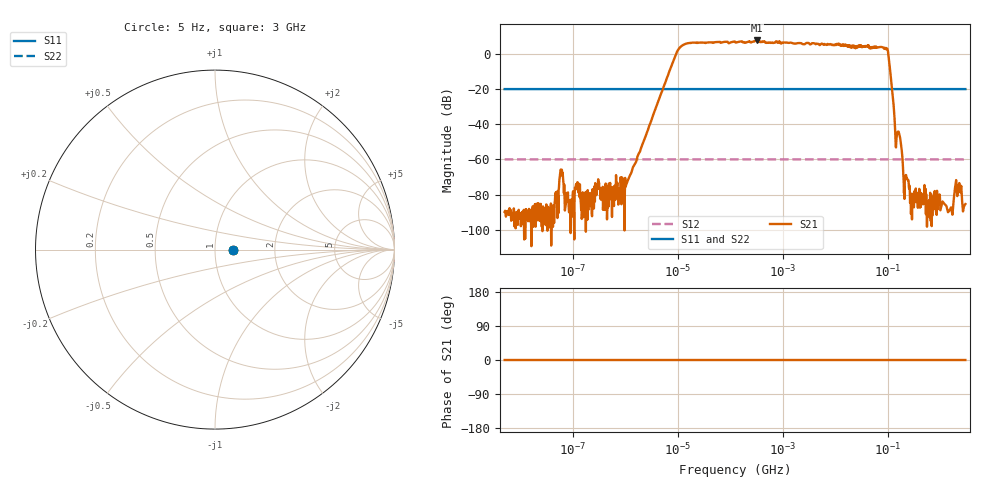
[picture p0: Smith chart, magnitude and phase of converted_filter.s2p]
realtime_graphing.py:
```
import pandas as pd
import numpy as np
import matplotlib.pyplot as plt
from scipy.fft import fft, fftfreq, ifft
import skrf as rf

def Power_Spectral_Density(signal, time, name):
    """Calculate PSD using FFT method"""

    X = fft(signal)
    N = len(signal)
    fs = 1/(time[1] - time[0])
    freqs = fftfreq(N, d=1/fs)
    mask = freqs >= 0
    freqs_pos = freqs[mask]
    psd_fft = (np.abs(X[mask])**2) / (fs * N)

    plt.figure(figsize=(10, 4))
    plt.semilogy(freqs_pos, psd_fft)
    plt.xlabel('Frequency (Hz)')
    plt.ylabel('PSD (V²/Hz)')
    plt.title(f'Power Spectral Density of {name}')
    plt.grid(True)
    plt.show()
    
    return freqs_pos, psd_fft

def Load_Transfer_Function(filename):
    """Load S2P file and return frequency and S21"""
    network = rf.Network(filename)
    s21 = network.s[:,1,0]
    frequency = network.f
  # Plot results
    plt.figure()
    
    # Plot Wiener filter
    plt.plot(frequency/1e6, 20*np.log10(np.abs(s21)))
    plt.xlabel('Frequency (MHz)')
    plt.ylabel('Magnitude (dB)')
    plt.title('Transfer Function H(f)')
    plt.grid(True)
    plt.show()

    return frequency, s21

def Wiener_Filter(transfer_function, transfer_frequencies, psd_signal, psd_signal_freq, psd_noise=None, psd_noise_freq=None):
    # INTERPOLATE
    
    #psd_signal = np.interp(transfer_frequencies, psd_signal_freq, psd_signal)
#def Wiener_Filter(transfer_function, transfer_frequencies, psd_signal, psd_signal_freq, psd_noise=None, psd_noise_freq=None):
    
    psd_signal_interp = np.interp(transfer_frequencies, psd_signal_freq, psd_signal)
    w_filter = []
    if psd_noise is None:
        w_filter = (np.conj(transfer_function) * psd_signal_interp) / (np.abs(transfer_function)**2 * psd_signal_interp)
        combined = w_filter * transfer_function
    
        
    # Rest of your code...
    if psd_noise is not None and psd_noise_freq is not None:
        psd_noise = np.interp(transfer_frequencies, psd_noise_freq, psd_noise)
        w_filter = (np.conj(transfer_function) * np.array(psd_signal_interp)) / (np.abs(transfer_function)**2 * psd_signal_interp + psd_noise)
    else:
        w_filter = (np.conj(transfer_function) * np.array(psd_signal_interp)) / (np.abs(transfer_function)**2 * psd_signal_interp)

    # wiener deconvolution formula
    
    # Plot results
    plt.figure(figsize=(15, 4))
    
    # Plot Wiener filter
    plt.subplot(1,2,1)
    plt.plot(transfer_frequencies/1e6, 20*np.log10(np.abs(w_filter)))
    plt.xlabel('Frequency (MHz)')
    plt.ylabel('Magnitude (dB)')
    plt.title('Wiener Filter W(f)')
    plt.grid(True)
    
    # Plot combined response W(f) * H(f)
    plt.subplot(1,2,2)
    combined = w_filter * transfer_function
    plt.plot(transfer_frequencies/1e6, 20*np.log10(np.abs(transfer_function)), 'b-', label='Original H(f)')
    plt.plot(transfer_frequencies/1e6, 20*np.log10(np.abs(combined)), 'r--', label='H(f) × W(f)')
    plt.xlabel('Frequency (MHz)')
    plt.ylabel('Magnitude (dB)')
    plt.title('Combined Response')
    plt.legend()
    plt.grid(True)

    
    plt.tight_layout()
    plt.show()

    # return the filter
    return w_filter

def Apply_Filter_to_Signal(signal, time, filter, filter_freqs, name):
    # --- frequency–domain filtering (robust version) ---------------------------
    X = fft(signal)
    N = len(signal)
    fs = 1 / (time[1] - time[0])           # sampling-rate
    freqs = fftfreq(N, d=1/fs)             # ±-Nyquist grid

    # 1)  absolute–value grid for interpolation
    freqs_abs = np.abs(freqs)

    # 2)  interpolate H(f) (or Wiener filter) onto full FFT grid
    #     – left = value at f=0
    #     – right = keep the last measured value (no hard zero)
    filter_interp = np.interp(
            freqs_abs,
            filter_freqs,
            filter,                     # measured / designed filter (complex!)
            left=filter[0],
            right=filter[-1]
    )

    # 3)  optional smooth roll-off beyond last measured frequency
    f_stop = filter_freqs[-1]
    f_max  = freqs_abs.max()
    mask   = freqs_abs > f_stop
    if mask.any():
        taper = 0.5 * (1 + np.cos(np.pi * (freqs_abs[mask] - f_stop) / (f_max - f_stop)))
        filter_interp[mask] *= taper          # cosine taper instead of brick-wall

    # 4)  apply filter
    Y = X * filter_interp
    filtered_signal = ifft(Y)
    filtered_signal = np.real(filtered_signal)        # drop tiny imag component
    filtered_signal -= np.mean(filtered_signal)       # remove DC shift

    filtered_fft = fft(filtered_signal)
    return np.real(filtered_signal)
'''
    # Plot results
    plt.figure(figsize=(12, 4))
    
    plt.subplot(1,2,1)
    plt.plot(time*1e9, signal, 'b--', label='Input Signal')
    plt.plot(time*1e9, np.real(filtered_signal), 'r-', label='Filtered Signal')
    plt.xlabel('Time (ns)')
    plt.ylabel('Amplitude')
    plt.title(f'Time Domain: Before and After Filtering Through {name}')
    plt.legend()
    plt.grid(True)
    
    plt.subplot(1,2,2)
    plt.plot(freqs_abs[:N//2]/1e6, 20*np.log10(np.abs(X[:N//2])), 'b--', label='Input Spectrum')
    plt.plot(freqs_abs[:N//2]/1e6, 20*np.log10(np.abs(filtered_fft[:N//2])), 'r-', label='Filtered Spectrum')
    plt.xlabel('Frequency (MHz)')
    plt.ylabel('Magnitude (dB)')
    plt.title('Frequency Domain: Before and After Filtering')
    plt.legend()
    plt.grid(True)
    
    plt.tight_layout()
    plt.show()
# added
    print(f"Before final filtering:")
    print(f"Signal max: {np.max(filtered_signal):.6f}")
    print(f"Signal min: {np.min(filtered_signal):.6f}")
    print(f"Signal mean: {np.mean(filtered_signal):.6f}")
    print(f"Signal std: {np.std(filtered_signal):.6f}")

    # Also check your Wiener filter
    print(f"Wiener filter max: {np.max(np.abs(filter)):.6f}")
    print(f"Wiener filter min: {np.min(np.abs(filter)):.6f}")
# end added
'''
    

def Apply_To_Long_Signal(signal, time, filter, filter_freqs, name):
    sig = signal 
    necessary_length = len(filter)
    plt.figure()
    while (len(sig) > necessary_length):
        current_segment = sig[:necessary_length]
        filtered_segment = Apply_Filter_to_Signal(current_segment, time[:necessary_length], filter, filter_freqs, name)
        sig = sig[necessary_length:]
        # do something with filtered_segment
        plt.plot(time[:necessary_length]*1e9, filtered_segment)
    plt.xlabel('Time (ns)')
    plt.ylabel('Amplitude')
    plt.title(f'Filtered Segments of {name}')
    plt.grid(True)
    plt.show()
    return sig


def main():
    # read a lil bit of the data
    df = pd.read_csv('WCM_4turns.csv', header=None, names=['time', 'amplitude'], usecols=[0, 1], nrows=30000000)
    # plot the entire signal
    plt.figure(figsize=(15, 5))
    plt.plot(df['time'], df['amplitude'])
    plt.show()

    # plot a noisy segment of the signal
    plt.figure(figsize=(15, 5))
    plt.plot(df['time'][5875001:7375001], df['amplitude'][5875001:7375001])
    plt.show()

    noise_segment = df['amplitude'].iloc[5_875_001 : 7_375_001].to_numpy()
    noise_t_seg = df['time'].iloc[5_875_001 : 7_375_001].to_numpy()
    # get the PSD of the noisy segment
    noise_freqs, noise_psds = Power_Spectral_Density(noise_segment, noise_t_seg, 'Noisy Segment')

    # get the PSD of a hill segment
    hill_segment = df['amplitude'].iloc[22_125_001 : 23_625_001].to_numpy()
    hill_t_seg = df['time'].iloc[22_125_001 : 23_625_001].to_numpy()

    signal_freqs, signal_psds = Power_Spectral_Density(hill_segment, hill_t_seg, 'Hill Segment')

    transfer_frequencies, transfer_function = Load_Transfer_Function('converted_filter.s2p')

    w_filter = Wiener_Filter(transfer_function, transfer_frequencies, signal_psds, signal_freqs, noise_psds, noise_freqs)

    Apply_To_Long_Signal(hill_segment, hill_t_seg, w_filter, transfer_frequencies, 'Wiener Filter')

if __name__ == "__main__":
    main()
```
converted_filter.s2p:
! S2P file converted from CSV (duplicates averaged)
! Original file: /content/CalInput_to_CH2FanOutChassis.xlsx - CalInput_to_CH2FanOutChassis.csv
# MHz S MA R 50
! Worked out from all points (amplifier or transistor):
!   1338 points, 5 Hz to 3 GHz, reference 50 ohm
!   highest |S21| = 7.7 dB at 316.9 kHz (marker M1)
!   |S21| within 3 dB of that: 11.96 kHz to 12.68 MHz (12.67 MHz wide, 200 % of centre)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
!   unconditionally stable (mu >= 1): start of sweep to end of sweep
!   at 91.5 Hz: K = 13466056.62, MAG = -88.7 dB, |S12| = -60.0 dB
!   at 84.4 kHz: K = 220.15, MAG = 7.0 dB, |S12| = -60.0 dB
!   at 3 GHz: K = 9167277.12, MAG = -85.4 dB, |S12| = -60.0 dB
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5e-06  0.1 0.0  3.181e-05 0.0  0.001 0.0  0.1 0.0
0.0007824  0.1 0.0  0.0001393 0.0  0.001 0.0  0.1 0.0
0.0056  0.1 0.0  0.1392 0.0  0.001 0.0  0.1 0.0
0.0108  0.1 0.0  1.503 0.0  0.001 0.0  0.1 0.0
0.1225  0.1 0.0  2.252 0.0  0.001 0.0  0.1 0.0
0.3169  0.1 0.0  2.418 0.0  0.001 0.0  0.1 0.0
92.8  0.1 0.0  1.358 0.0  0.001 0.0  0.1 0.0
121.9  0.1 0.0  0.08472 0.0  0.001 0.0  0.1 0.0
205.2  0.1 0.0  0.0001687 0.0  0.001 0.0  0.1 0.0
281.7  0.1 0.0  6.288e-05 0.0  0.001 0.0  0.1 0.0
3000  0.1 0.0  5.346e-05 0.0  0.001 0.0  0.1 0.0
